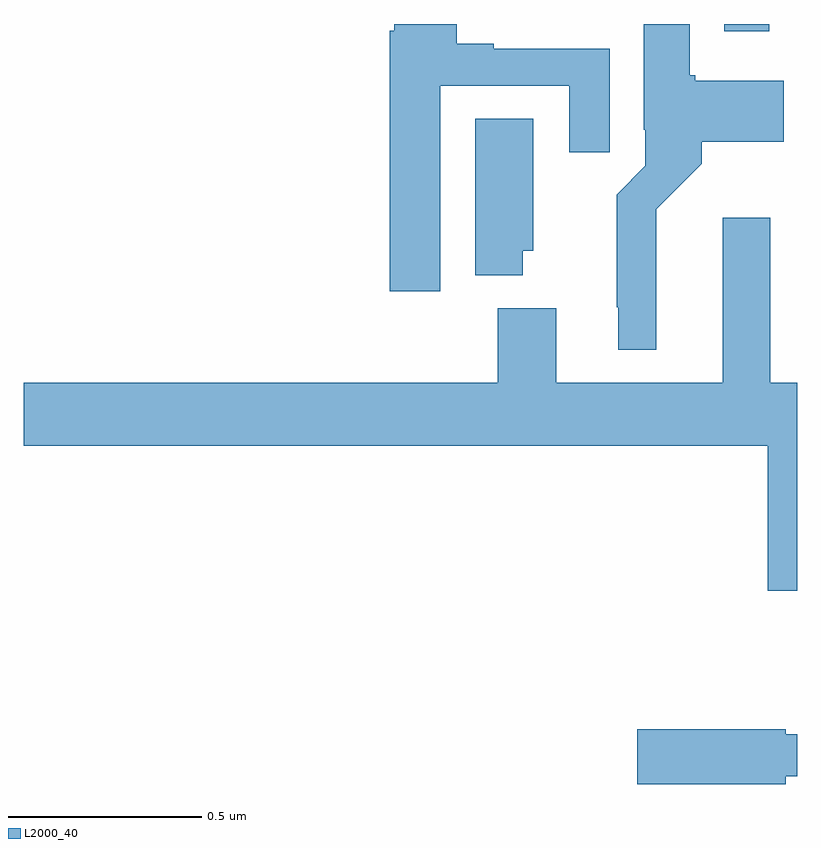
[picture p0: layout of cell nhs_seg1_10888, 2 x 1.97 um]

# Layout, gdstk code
import gdstk
lib = gdstk.Library(unit=1e-6, precision=1e-09)
def R(c, l, rs):  # rectangles x0, y0, x1, y1
    for r in rs: c.add(gdstk.rectangle(r[:2], r[2:], *l))
def P(c, l, *ps):  # polygons
    for p in ps: c.add(gdstk.Polygon(p, *l))
L2000_40 = (2000, 40)

nhs_seg1_10888 = lib.new_cell('nhs_seg1_10888')
R(nhs_seg1_10888, L2000_40, [(248.811,510.18,248.927,510.199)])
P(nhs_seg1_10888, L2000_40, [(248.635,509.72),(248.753,509.838),(248.753,509.894),(248.965,509.894),(248.965,510.052),(248.736,510.052),(248.736,510.066),(248.722,510.066),(248.722,510.199),(248.603,510.199),(248.603,509.926),(248.607,509.926),(248.607,509.832),(248.533,509.758),(248.533,509.467),(248.537,509.467),(248.537,509.357),(248.635,509.357)],
  [(248.077,510.039),(248.411,510.039),(248.411,509.868),(248.515,509.868),(248.515,510.135),(248.215,510.135),(248.215,510.148),(248.119,510.148),(248.119,510.199),(247.958,510.199),(247.958,510.182),(247.946,510.182),(247.946,509.508),(248.077,509.508)],
  [(248.29,509.613),(248.317,509.613),(248.317,509.954),(248.168,509.954),(248.168,509.549),(248.29,509.549)],
  [(249,509.272),(248.93,509.272),(248.93,509.698),(248.807,509.698),(248.807,509.272),(248.377,509.272),(248.377,509.464),(248.225,509.464),(248.225,509.272),(247,509.272),(247,509.108),(248.924,509.108),(248.924,508.734),(249,508.734)],
  [(248.97,508.254),(249,508.254),(249,508.363),(248.97,508.363),(248.97,508.376),(248.586,508.376),(248.586,508.234),(248.97,508.234)])

lib.write_gds('nhs_seg1_10888.gds')
